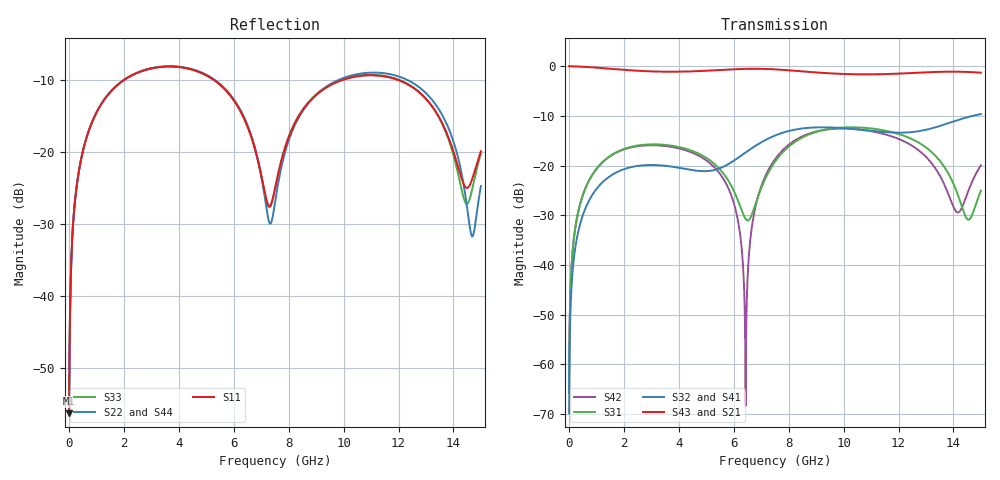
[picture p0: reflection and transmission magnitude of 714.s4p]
! Created with skrf 1.8.0 (http://scikit-rf.org).
# GHz S RI R 50.0
!freq ReS11 ImS11 ReS12 ImS12 ReS13 ImS13
! ReS14 ImS14
! ReS21 ImS21 ReS22 ImS22 ReS23 ImS23
! ReS24 ImS24
! ReS31 ImS31 ReS32 ImS32 ReS33 ImS33
! ReS34 ImS34
! ReS41 ImS41 ReS42 ImS42 ReS43 ImS43
! ReS44 ImS44
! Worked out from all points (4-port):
!   2499 points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, 5 MHz to 15 GHz, reference 50 ohm
!   strongest paths, dB at 5 MHz, 3.476 GHz, 7.19 GHz, 11.1 GHz, 15 GHz:
!     S43: 0.0, -1.1, -0.6, -1.6, -1.3
!     S21: 0.0, -1.1, -0.6, -1.7, -1.3
!     S32: -69.8, -20.0, -14.8, -13.1, -9.6
!     S41: -69.8, -19.9, -14.8, -12.8, -9.6
!     S31: -65.8, -15.8, -22.2, -12.6, -25.1
!     S42: -65.8, -16.1, -21.7, -13.2, -19.9
!   lowest |S11| = -56.2 dB at 5 MHz (marker M1), VSWR 1.00, Z = 50.1 + j0.0933 ohm
!   |S11| at or under -10 dB: start of sweep to 2.014 GHz; 5.271 GHz to 9.984 GHz (4.713 GHz wide, 61.8 % of centre); 11.96 GHz to end of sweep
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0.005  0.00123 0.000931  0.9987 -0.0024  6.15e-05 0.000512  -5.96e-05 -0.000316
       0.9987 -0.0024  0.00123 0.000931  -5.96e-05 -0.000316  6.14e-05 0.000512
       6.15e-05 0.000512  -5.96e-05 -0.000316  0.00123 0.000931  0.9987 -0.0024
       -5.96e-05 -0.000316  6.14e-05 0.000512  0.9987 -0.0024  0.00123 0.000931
0.4126719  0.0225 0.0804  0.9688 -0.196  0.0113 0.0401  -0.00917 -0.0245
           0.9688 -0.196  0.0226 0.0804  -0.00915 -0.0245  0.0109 0.0402
           0.0113 0.0401  -0.00915 -0.0245  0.0225 0.0804  0.9688 -0.196
           -0.00917 -0.0245  0.0109 0.0402  0.9688 -0.196  0.0226 0.0804
1.925802  0.2453 0.1857  0.5971 -0.7011  0.1271 0.0679  -0.0894 -0.0139
          0.5971 -0.7011  0.2472 0.1846  -0.0891 -0.0142  0.122 0.074
          0.1271 0.0679  -0.0891 -0.0142  0.2455 0.1856  0.5971 -0.701
          -0.0894 -0.0139  0.122 0.074  0.5971 -0.701  0.247 0.1847
5.489787  0.231 -0.1811  -0.5807 -0.7052  0.0406 -0.0825  -0.0497 0.081
          -0.5807 -0.7052  0.2269 -0.1915  -0.0522 0.0778  0.0595 -0.0579
          0.0406 -0.0825  -0.0522 0.0778  0.2302 -0.1821  -0.5807 -0.7053
          -0.0497 0.081  0.0595 -0.0579  -0.5807 -0.7053  0.227 -0.1902
6.433931  0.0907 -0.1335  -0.8381 -0.4213  -0.0249 -0.0149  -0.0543 0.1242
          -0.8381 -0.4213  0.0825 -0.1425  -0.0593 0.1217  0.000337 0.000179
          -0.0249 -0.0149  -0.0593 0.1217  0.0895 -0.1337  -0.8381 -0.4213
          -0.0543 0.1242  0.000337 0.000179  -0.8381 -0.4213  0.0832 -0.1416
7.278033  0.0417 -0.00716  -0.9313 -0.0712  -0.0105 0.0862  -0.00672 0.1878
          -0.9313 -0.0712  0.0309 -0.012  -0.0137 0.1874  0.0112 0.0912
          -0.0105 0.0862  -0.0137 0.1874  0.041 -0.00622  -0.9313 -0.0713
          -0.00672 0.1878  0.0112 0.0912  -0.9313 -0.0713  0.0313 -0.0121
15  0.0735 0.0695  0.8585 0.00473  0.00438 0.0557  -0.0284 -0.3285
    0.8585 0.00473  0.0362 0.0453  0.00183 -0.3297  0.0738 0.0685
    0.00438 0.0557  0.00183 -0.3297  0.0624 0.0748  0.8585 0.00485
    -0.0284 -0.3285  0.0738 0.0685  0.8585 0.00485  0.0448 0.0466
